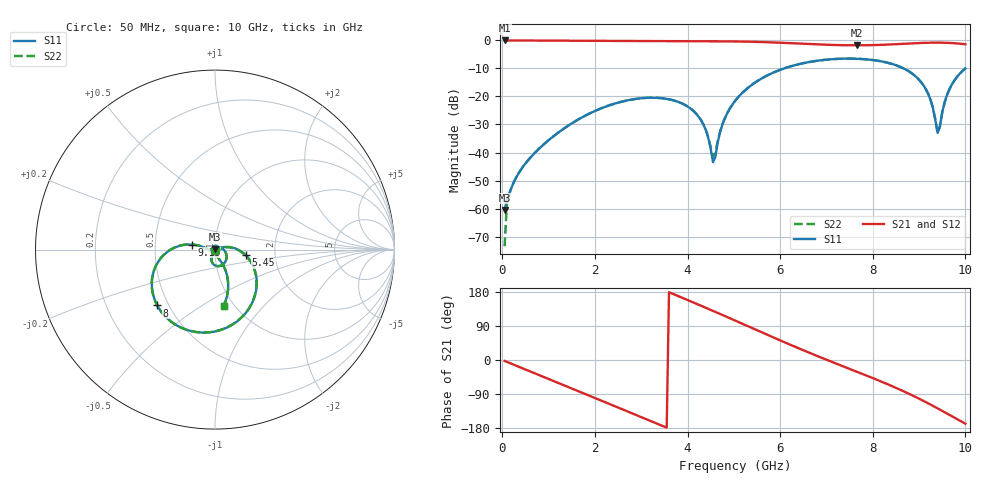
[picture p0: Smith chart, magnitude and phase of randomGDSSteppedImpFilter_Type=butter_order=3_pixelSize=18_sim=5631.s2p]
! freq	dB(S11)	phase(S11)	dB(S12)	phase(S12)
!  dB(S21)	phase(S21)	dB(S22)	phase(S22)
!S-par simulation data
#  GHz  S  DB  R 50
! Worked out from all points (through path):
!   200 points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, 50 MHz to 10 GHz, reference 50 ohm
!   highest |S21| = 0.00 dB at 50 MHz (marker M1); lowest = -1.7 dB at 7.65 GHz (marker M2)
!   group delay of S21, straight-line fit = 144 ps
!   lowest |S11| = -60.5 dB at 50 MHz (marker M3), VSWR 1.00, Z = 50 + j0.0932 ohm
!   |S11| at or under -10 dB: start of sweep to 6.083 GHz; 8.668 GHz to 9.999 GHz (1.331 GHz wide, 14.3 % of centre)
!   |S22| runs from -73.4 to -6.5 dB; largest |S21 - S12| = 0
!   S11 on the Smith chart (normalised r, x): 50 MHz: 1.00, +0.00; 5.45 GHz: 1.41, -0.09; 8 GHz: 0.43, -0.34; 9.15 GHz: 0.77, +0.04; 10 GHz: 0.90, -0.62
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0.05  -60.51 80.8  -0.00 -2.5  -0.00 -2.5  -73.43 32.3
0.1  -56.59 60.7  -0.01 -5.1  -0.01 -5.1  -58.13 51.3
0.35  -47.47 68.3  -0.03 -17.6  -0.03 -17.6  -47.46 68.5
1.1  -34.26 37.2  -0.06 -55.1  -0.06 -55.1  -34.27 37.6
1.75  -27.20 4.3  -0.10 -87.7  -0.10 -87.7  -27.20 4.8
2.5  -22.20 -33.8  -0.17 -125.4  -0.17 -125.4  -22.20 -33.3
3.4  -20.54 -78.7  -0.25 -170.9  -0.25 -170.9  -20.54 -78.0
4.2  -26.40 -115.4  -0.28 148.0  -0.28 148.0  -26.37 -113.4
4.4  -32.24 -118.3  -0.29 137.6  -0.29 137.6  -32.10 -114.4
4.55  -43.47 -71.4  -0.29 129.7  -0.29 129.7  -41.52 -66.5
4.75  -30.18 17.0  -0.31 119.0  -0.31 119.0  -30.03 13.6
5.05  -21.12 8.7  -0.36 103.0  -0.36 103.0  -21.09 7.4
5.45  -15.12 -10.6  -0.49 81.3  -0.49 81.3  -15.11 -11.3
6.7  -7.50 -74.2  -1.34 15.6  -1.34 15.6  -7.50 -74.5
7.65  -6.53 -119.4  -1.73 -30.6  -1.73 -30.6  -6.53 -119.6
8  -6.99 -136.0  -1.66 -47.7  -1.66 -47.7  -6.99 -136.2
8.35  -8.08 -153.0  -1.46 -65.5  -1.46 -65.5  -8.08 -153.2
9.15  -17.52 167.8  -0.83 -111.4  -0.83 -111.4  -17.52 167.5
9.3  -24.16 169.0  -0.78 -121.1  -0.78 -121.1  -24.16 168.6
9.4  -33.01 -143.5  -0.77 -127.7  -0.77 -127.7  -33.12 -144.0
9.65  -17.60 -63.2  -0.88 -144.5  -0.88 -144.5  -17.61 -63.2
10  -9.98 -81.2  -1.36 -168.0  -1.36 -168.0  -9.99 -81.3
